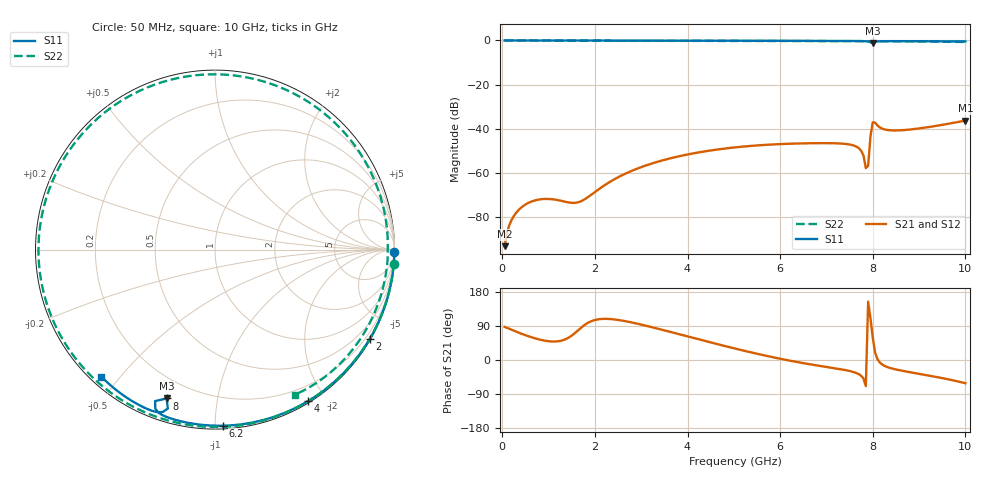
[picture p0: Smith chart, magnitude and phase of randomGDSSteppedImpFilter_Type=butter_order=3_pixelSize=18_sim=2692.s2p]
! freq	dB(S11)	phase(S11)	dB(S12)	phase(S12)
!  dB(S21)	phase(S21)	dB(S22)	phase(S22)
!S-par simulation data
#  GHz  S  DB  R 50
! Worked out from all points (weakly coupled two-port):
!   200 points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, 50 MHz to 10 GHz, reference 50 ohm
!   highest |S21| = -36.28 dB at 10 GHz (marker M1); lowest = -93.2 dB at 50 MHz (marker M2)
!   lowest |S11| = -1.2 dB at 8 GHz (marker M3), VSWR 14.62, Z = 5.21 - j36.1 ohm
!   |S11| at or under -10 dB: nowhere
!   |S22| runs from -0.7 to 0.0 dB; largest |S21 - S12| = 0
!   S11 on the Smith chart (normalised r, x): 50 MHz: open; 2 GHz: 0.03, -3.73; 4 GHz: 0.02, -1.79; 6.2 GHz: 0.02, -1.05; 8 GHz: 0.10, -0.72; 10 GHz: 0.03, -0.45
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0.05  -0.00 -0.8  -93.22 87.5  -93.22 87.5  -0.00 -4.4
0.25  -0.00 -3.8  -79.54 77.3  -79.54 77.3  -0.03 -22.0
0.5  -0.01 -7.6  -74.35 65.5  -74.35 65.5  -0.06 -43.2
0.85  -0.02 -12.9  -71.92 52.7  -71.92 52.7  -0.08 -70.8
1.25  -0.02 -18.9  -72.57 50.3  -72.57 50.3  -0.10 -98.8
1.75  -0.03 -26.3  -72.33 90.1  -72.33 90.1  -0.12 -128.5
2  -0.04 -30.0  -68.70 105.5  -68.70 105.5  -0.13 -141.6
2.65  -0.05 -39.5  -60.45 102.7  -60.45 102.7  -0.14 -171.7
3.4  -0.07 -50.2  -54.69 81.4  -54.69 81.4  -0.15 158.0
4  -0.08 -58.5  -51.67 62.2  -51.67 62.2  -0.17 135.6
5.05  -0.11 -72.6  -48.40 29.5  -48.40 29.5  -0.20 98.0
6.2  -0.16 -87.4  -46.80 -1.5  -46.80 -1.5  -0.23 57.9
6.7  -0.18 -93.7  -46.57 -12.5  -46.57 -12.5  -0.25 40.8
7.65  -0.26 -105.8  -48.16 -34.6  -48.16 -34.6  -0.30 9.4
7.8  -0.31 -108.3  -52.22 -49.0  -52.22 -49.0  -0.32 4.6
7.85  -0.36 -109.3  -57.84 -69.0  -57.84 -69.0  -0.32 3.0
7.9  -0.48 -110.6  -56.77 154.1  -56.77 154.1  -0.33 1.4
7.95  -0.84 -111.6  -43.46 110.3  -43.46 110.3  -0.33 -0.1
8  -1.19 -108.0  -37.08 59.3  -37.08 59.3  -0.33 -1.6
8.35  -0.31 -112.2  -40.67 -20.1  -40.67 -20.1  -0.36 -12.6
9.2  -0.37 -122.6  -39.27 -40.8  -39.27 -40.8  -0.48 -38.0
10  -0.45 -131.8  -36.28 -61.3  -36.28 -61.3  -0.70 -61.3
